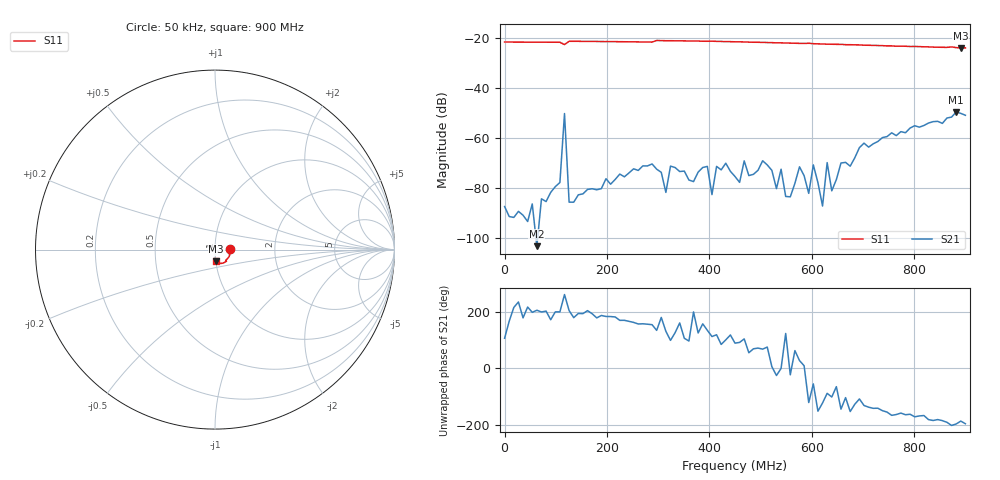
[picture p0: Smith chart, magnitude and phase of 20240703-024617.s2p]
# HZ S RI R 50
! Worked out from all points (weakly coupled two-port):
!   101 points, 50 kHz to 900 MHz, reference 50 ohm
!   highest |S21| = -49.48 dB at 882 MHz (marker M1); lowest = -103.3 dB at 63.05 MHz (marker M2)
!   lowest |S11| = -23.8 dB at 891 MHz (marker M3), VSWR 1.14, Z = 50.2 - j6.48 ohm
!   |S11| at or under -10 dB: start of sweep to end of sweep
!   S12 and S22 are empty: the file has one direction only
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50000  0.0849 0.000894  -1.22e-05 4.1e-05  0 0  0 0
6.30465e7  0.0829 -0.0149  -6.19e-06 -2.99e-06  0 0  0 0
1.08044e8  0.08 -0.025  -0.000122 -4.46e-05  0 0  0 0
1.170435e8  0.0747 0.00967  -0.000461 -0.00309  0 0  0 0
1.26043e8  0.0824 -0.03  -4.77e-05 -2.17e-05  0 0  0 0
1.530415e8  0.0797 -0.0358  -7.46e-05 -1.84e-05  0 0  0 0
3.06033e8  0.0629 -0.0651  -0.000207 -1.34e-06  0 0  0 0
3.150325e8  0.0611 -0.0661  -5.39e-05 6.19e-05  0 0  0 0
4.50025e8  0.0392 -0.0761  2.64e-06 0.000171  0 0  0 0
5.04022e8  0.0322 -0.0767  0.000133 0.000328  0 0  0 0
5.310205e8  0.0289 -0.0763  8.8e-05 -4.25e-05  0 0  0 0
5.76018e8  0.024 -0.0759  0.000238 0.000122  0 0  0 0
5.94017e8  0.0227 -0.0768  -4.13e-05 -6.69e-05  0 0  0 0
6.030165e8  0.0213 -0.0756  0.000166 -0.000241  0 0  0 0
6.210155e8  0.0199 -0.0749  -2.4e-05 -3.67e-05  0 0  0 0
6.30015e8  0.0189 -0.0744  5.93e-06 -0.000325  0 0  0 0
6.390145e8  0.0184 -0.0743  -1.83e-05 -8.64e-05  0 0  0 0
6.570135e8  0.017 -0.0742  -0.000261 -0.000182  0 0  0 0
7.56008e8  0.0116 -0.0699  -0.00125 -0.000288  0 0  0 0
8.82001e8  0.00558 -0.0653  -0.0032 0.00102  0 0  0 0
8.910005e8  0.00629 -0.0643  -0.00312 0.00041  0 0  0 0
9e8  0.00452 -0.0645  -0.00276 0.000838  0 0  0 0
